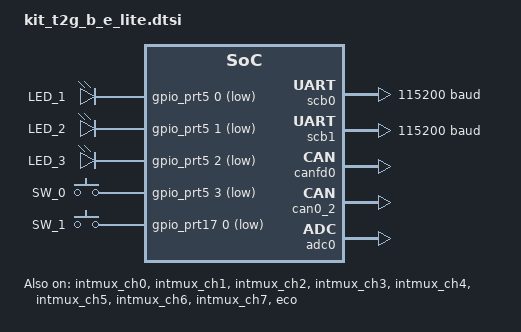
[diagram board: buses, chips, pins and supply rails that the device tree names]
/*
 * Copyright (c) 2026 Linumiz
 * Copyright (c) 2026 Infineon Technologies AG
 * SPDX-License-Identifier: Apache-2.0
 */

#include <infineon/cat1a/cyt2bl/cyt2bl.dtsi>
#include <infineon/cat1a/cyt2bl/system_clocks.dtsi>
#include <zephyr/dt-bindings/gpio/gpio.h>
#include <zephyr/dt-bindings/input/input-event-codes.h>
#include "kit_t2g_b_e_lite-pinctrl.dtsi"

/ {
	leds {
		compatible = "gpio-leds";

		user_led0: led0 {
			label = "LED_1";
			gpios = <&gpio_prt5 0 GPIO_ACTIVE_LOW>;
		};

		user_led1: led1 {
			label = "LED_2";
			gpios = <&gpio_prt5 1 GPIO_ACTIVE_LOW>;
		};

		user_led2: led2 {
			label = "LED_3";
			gpios = <&gpio_prt5 2 GPIO_ACTIVE_LOW>;
		};
	};

	gpio_keys {
		compatible = "gpio-keys";

		user_bt0: user_btn0 {
			label = "SW_0";
			gpios = <&gpio_prt5 3 (GPIO_PULL_UP | GPIO_ACTIVE_LOW)>;
			zephyr,code = <INPUT_KEY_0>;
		};

		user_bt1: user_btn1 {
			label = "SW_1";
			gpios = <&gpio_prt17 0 (GPIO_PULL_UP | GPIO_ACTIVE_LOW)>;
			zephyr,code = <INPUT_KEY_1>;
		};
	};

	reserved-memory {
		#address-cells = <1>;
		#size-cells = <1>;

		sram_m0p: memory@8000800 {
			compatible = "mmio-sram";
			reg = <0x08000800 DT_SIZE_K(30)>;
		};

		sram_m4: memory@8008000 {
			compatible = "mmio-sram";
			reg = <0x08008000 DT_SIZE_K(224)>;
		};
	};
};

&code_flash0 {
	partitions {
		ranges;
		#address-cells = <1>;
		#size-cells = <1>;

		m0p_partition: partition_m0p@0 {
			compatible = "zephyr,mapped-partition";
			label = "m0p_partition";
			reg = <0x0 DT_SIZE_K(512)>;
		};

		m4_partition: partition@80000 {
			compatible = "zephyr,mapped-partition";
			label = "m4_partition";
			reg = <0x80000 DT_SIZE_K(3520)>;
		};
	};
};

uart0: &scb0 {
	compatible = "infineon,uart";
	current-speed = <115200>;
	dmas = <&dma1 8>, <&dma1 9>;
	dma-names = "tx", "rx";
	clocks = <&clk_peri0 30 0 0>;

	/* UART pins */
	pinctrl-0 = <&p0_1_scb0_uart_tx &p0_0_scb0_uart_rx>;
	pinctrl-names = "default";
};

uart1: &scb1 {
	compatible = "infineon,uart";
	current-speed = <115200>;
	dmas = <&dma1 10>, <&dma1 11>;
	dma-names = "tx", "rx";
	clocks = <&clk_peri0 31 0 1>;

	/* UART pins */
	pinctrl-0 = <&p18_1_scb1_uart_tx &p18_0_scb1_uart_rx>;
	pinctrl-names = "default";
};

spi3: &scb3 {
	#address-cells = <1>;
	#size-cells = <0>;
	compatible = "infineon,spi";
	clocks = <&clk_peri0 33 1 3>;

	/* SPI pins */
	pinctrl-0 = <&p13_0_scb3_spi_m_miso &p13_1_scb3_spi_m_mosi &p13_2_scb3_spi_m_clk>;
	pinctrl-names = "default";
	cs-gpios = <&gpio_prt13 5 GPIO_ACTIVE_LOW>;
};

i2c0: &scb4 {
	#address-cells = <1>;
	#size-cells = <0>;
	compatible = "infineon,i2c";
	clocks = <&clk_peri0 34 0 1>;

	/* I2C pins */
	pinctrl-0 = <&p6_1_scb4_i2c_sda &p6_2_scb4_i2c_scl>;
	pinctrl-names = "default";
};

&canfd0 {
	status = "okay";
};

&can0_2 {
	status = "okay";
	clocks = <&clk_peri0 8 1 0>;
	frequency = <40000000>;
	pinctrl-0 = <&p12_0_can0_2_tx &p12_1_can0_2_rx>;
	pinctrl-names = "default";
};

&dma1 {
	status = "okay";
};

&adc0 {
	#address-cells = <1>;
	#size-cells = <0>;
	clocks = <&clk_peri0 38 1 2>;
	clock-frequency = <10670000>;
	status = "okay";
};

&intmux_ch0 {
	status = "okay";
};

&intmux_ch1 {
	status = "okay";
};

&intmux_ch2 {
	status = "okay";
};

&intmux_ch3 {
	status = "okay";
};

&intmux_ch4 {
	status = "okay";
};

&intmux_ch5 {
	status = "okay";
};

&intmux_ch6 {
	status = "okay";
};

&intmux_ch7 {
	status = "okay";
};

&eco {
	status = "okay";
};

&pll0 {
	status = "okay";
};

&clk_hf0 {
	status = "okay";
};

&clk_hf1 {
	status = "okay";
};

&clk_hf2 {
	status = "okay";
};

&gpio_prt13 {
	status = "okay";
};

&gpio_prt18 {
	status = "okay";
};
